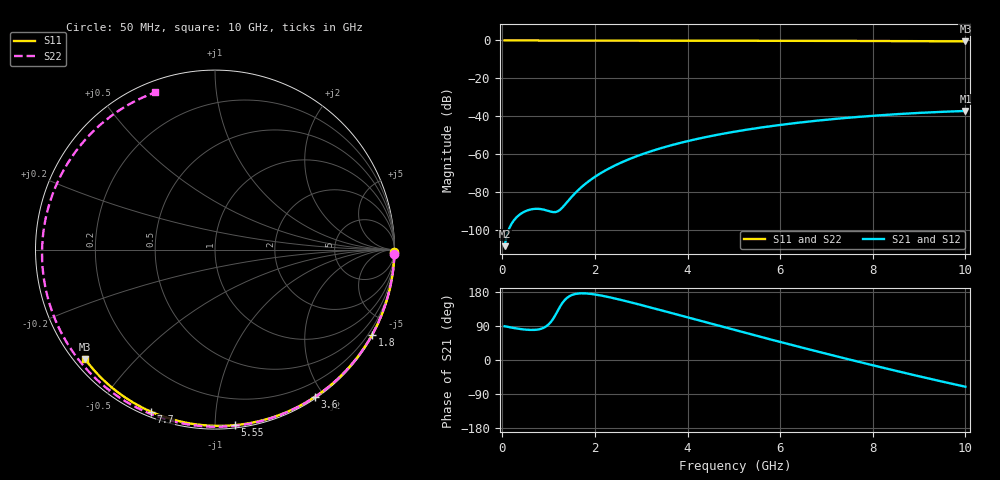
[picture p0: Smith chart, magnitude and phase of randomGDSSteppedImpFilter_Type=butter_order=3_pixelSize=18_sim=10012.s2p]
! freq	dB(S11)	phase(S11)	dB(S12)	phase(S12)
!  dB(S21)	phase(S21)	dB(S22)	phase(S22)
!S-par simulation data
#  GHz  S  DB  R 50
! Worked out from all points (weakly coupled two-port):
!   200 points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, 50 MHz to 10 GHz, reference 50 ohm
!   highest |S21| = -37.20 dB at 10 GHz (marker M1); lowest = -108.6 dB at 50 MHz (marker M2)
!   lowest |S11| = -0.5 dB at 10 GHz (marker M3), VSWR 36.55, Z = 1.55 - j18.2 ohm
!   |S11| at or under -10 dB: nowhere
!   |S22| runs from -0.6 to 0.0 dB; largest |S21 - S12| = 0
!   S11 on the Smith chart (normalised r, x): 50 MHz: open; 1.8 GHz: 0.03, -3.91; 3.6 GHz: 0.02, -1.88; 5.55 GHz: 0.02, -1.12; 7.7 GHz: 0.02, -0.68; 10 GHz: 0.03, -0.36
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0.05  -0.00 -0.8  -108.56 89.0  -108.56 89.0  -0.00 -1.6
0.4  -0.01 -6.4  -91.46 81.6  -91.46 81.6  -0.02 -12.3
0.8  -0.02 -12.9  -88.90 81.2  -88.90 81.2  -0.03 -24.5
1.2  -0.02 -19.2  -90.14 130.5  -90.14 130.5  -0.05 -36.5
1.6  -0.03 -25.5  -79.91 174.7  -79.91 174.7  -0.06 -48.2
1.75  -0.04 -27.9  -76.54 175.9  -76.54 175.9  -0.07 -52.5
1.8  -0.04 -28.7  -75.54 175.7  -75.54 175.7  -0.07 -53.9
2.1  -0.04 -33.3  -70.41 170.9  -70.41 170.9  -0.08 -62.4
2.45  -0.05 -38.7  -65.77 161.8  -65.77 161.8  -0.09 -72.0
2.9  -0.06 -45.6  -61.11 148.2  -61.11 148.2  -0.10 -84.0
3.4  -0.07 -53.0  -57.03 132.2  -57.03 132.2  -0.12 -96.8
3.6  -0.08 -56.0  -55.63 125.6  -55.63 125.6  -0.13 -101.7
4.3  -0.09 -66.1  -51.48 102.6  -51.48 102.6  -0.16 -118.6
5.05  -0.12 -76.7  -48.00 78.1  -48.00 78.1  -0.19 -135.9
5.55  -0.14 -83.5  -46.09 62.0  -46.09 62.0  -0.22 -147.1
6.15  -0.16 -91.5  -44.12 42.9  -44.12 42.9  -0.26 -160.3
6.7  -0.19 -98.7  -42.58 25.7  -42.58 25.7  -0.30 -172.3
7.2  -0.22 -105.2  -41.37 10.3  -41.37 10.3  -0.33 176.7
7.7  -0.26 -111.5  -40.32 -4.9  -40.32 -4.9  -0.37 165.6
8.35  -0.31 -119.6  -39.16 -24.2  -39.16 -24.2  -0.43 150.8
9.15  -0.38 -129.5  -38.05 -47.2  -38.05 -47.2  -0.50 131.9
10  -0.48 -139.9  -37.20 -70.5  -37.20 -70.5  -0.57 110.8
